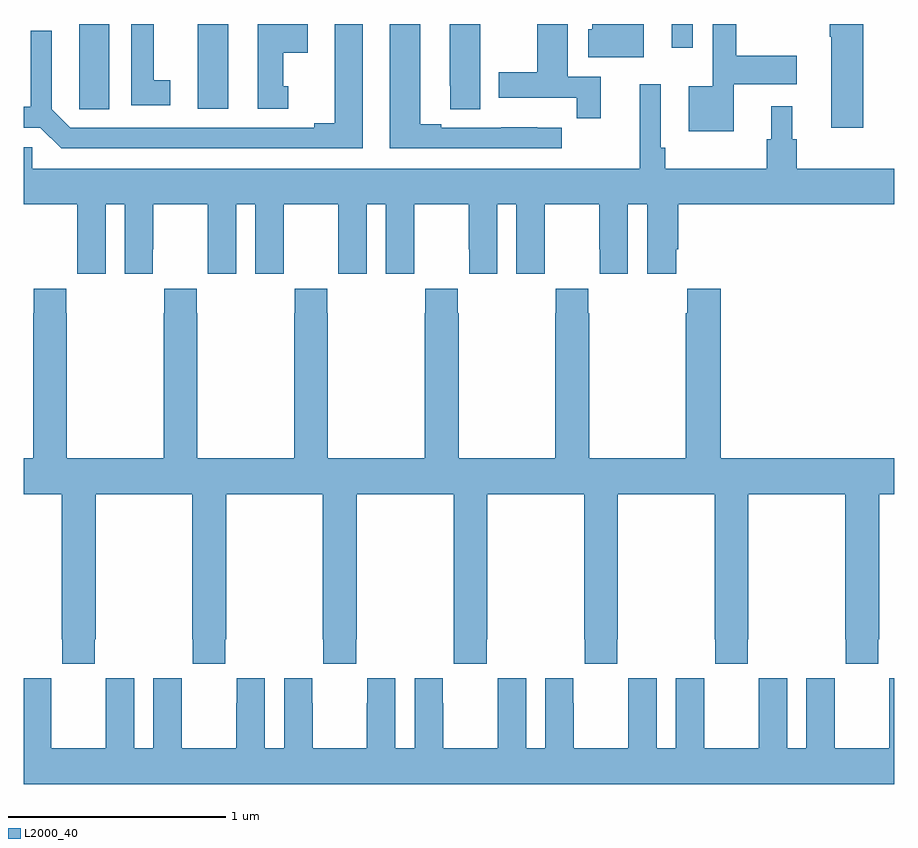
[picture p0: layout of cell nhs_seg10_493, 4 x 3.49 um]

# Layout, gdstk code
import gdstk
lib = gdstk.Library(unit=1e-6, precision=1e-09)
def R(c, l, rs):  # rectangles x0, y0, x1, y1
    for r in rs: c.add(gdstk.rectangle(r[:2], r[2:], *l))
def P(c, l, *ps):  # polygons
    for p in ps: c.add(gdstk.Polygon(p, *l))
L2000_40 = (2000, 40)

nhs_seg10_493 = lib.new_cell('nhs_seg10_493')
R(nhs_seg10_493, L2000_40, [(135.8,1278.111,135.94,1278.5), (137.978,1278.39,138.075,1278.5)])
P(nhs_seg10_493, L2000_40, [(138.262,1278.224),(138.553,1278.224),(138.553,1278.354),(138.274,1278.354),(138.274,1278.5),(138.165,1278.5),(138.165,1278.214),(138.056,1278.214),(138.056,1278.008),(138.262,1278.008)],
  [(138.857,1278.5),(138.703,1278.5),(138.703,1278.442),(138.71,1278.442),(138.71,1278.024),(138.857,1278.024)],
  [(135.394,1278.5),(135.254,1278.5),(135.254,1278.217),(135.255,1278.217),(135.255,1278.109),(135.394,1278.109)],
  [(137.473,1278.024),(137.36,1278.024),(137.36,1278.025),(137.194,1278.025),(137.194,1278.024),(136.918,1278.024),(136.918,1278.039),(136.822,1278.039),(136.822,1278.5),(136.682,1278.5),(136.682,1277.928),(137.473,1277.928)],
  [(136.216,1278.213),(136.192,1278.213),(136.192,1278.368),(136.306,1278.368),(136.306,1278.5),(136.076,1278.5),(136.076,1278.111),(136.216,1278.111)],
  [(137.098,1278.5),(136.958,1278.5),(136.958,1278.217),(136.959,1278.217),(136.959,1278.109),(137.098,1278.109)],
  [(136.558,1278.5),(136.43,1278.5),(136.43,1278.044),(136.334,1278.044),(136.334,1278.024),(135.213,1278.024),(135.129,1278.108),(135.129,1278.469),(135.033,1278.469),(135.033,1278.12),(135,1278.12),(135,1278.024),(135.077,1278.024),(135.173,1277.928),(136.558,1277.928)],
  [(137.651,1278.258),(137.5,1278.258),(137.5,1278.5),(137.36,1278.5),(137.36,1278.279),(137.183,1278.279),(137.183,1278.162),(137.542,1278.162),(137.542,1278.066),(137.651,1278.066)],
  [(137.848,1278.5),(137.612,1278.5),(137.612,1278.477),(137.594,1278.477),(137.594,1278.347),(137.848,1278.347)],
  [(135.673,1278.242),(135.598,1278.242),(135.598,1278.5),(135.494,1278.5),(135.494,1278.126),(135.673,1278.126)],
  [(135.039,1277.934),(135,1277.934),(135,1277.672),(135.245,1277.672),(135.245,1277.464),(135.246,1277.464),(135.246,1277.352),(135.376,1277.352),(135.376,1277.672),(135.464,1277.672),(135.464,1277.352),(135.594,1277.352),(135.594,1277.464),(135.595,1277.464),(135.595,1277.672),(135.845,1277.672),(135.845,1277.464),(135.846,1277.464),(135.846,1277.352),(135.976,1277.352),(135.976,1277.672),(136.064,1277.672),(136.064,1277.352),(136.194,1277.352),(136.194,1277.464),(136.195,1277.464),(136.195,1277.672),(136.445,1277.672),(136.445,1277.464),(136.446,1277.464),(136.446,1277.352),(136.576,1277.352),(136.576,1277.672),(136.664,1277.672),(136.664,1277.352),(136.794,1277.352),(136.794,1277.464),(136.795,1277.464),(136.795,1277.672),(137.045,1277.672),(137.045,1277.464),(137.046,1277.464),(137.046,1277.352),(137.176,1277.352),(137.176,1277.672),(137.264,1277.672),(137.264,1277.352),(137.394,1277.352),(137.394,1277.464),(137.395,1277.464),(137.395,1277.672),(137.645,1277.672),(137.645,1277.464),(137.646,1277.464),(137.646,1277.352),(137.776,1277.352),(137.776,1277.672),(137.864,1277.672),(137.864,1277.352),(137.998,1277.352),(137.998,1277.464),(138.008,1277.464),(138.008,1277.672),(139,1277.672),(139,1277.836),(138.551,1277.836),(138.551,1277.97),(138.532,1277.97),(138.532,1278.121),(138.434,1278.121),(138.434,1277.97),(138.415,1277.97),(138.415,1277.836),(137.948,1277.836),(137.948,1277.932),(137.928,1277.932),(137.928,1278.223),(137.831,1278.223),(137.831,1277.836),(135.039,1277.836)],
  [(135.175,1275.673),(135.177,1275.673),(135.177,1275.561),(135.327,1275.561),(135.327,1275.673),(135.33,1275.673),(135.33,1276.34),(135.775,1276.34),(135.775,1275.673),(135.777,1275.673),(135.777,1275.561),(135.927,1275.561),(135.927,1275.673),(135.93,1275.673),(135.93,1276.34),(136.375,1276.34),(136.375,1275.673),(136.377,1275.673),(136.377,1275.561),(136.527,1275.561),(136.527,1275.673),(136.53,1275.673),(136.53,1276.34),(136.975,1276.34),(136.975,1275.673),(136.977,1275.673),(136.977,1275.561),(137.127,1275.561),(137.127,1275.673),(137.13,1275.673),(137.13,1276.34),(137.575,1276.34),(137.575,1275.673),(137.577,1275.673),(137.577,1275.561),(137.727,1275.561),(137.727,1275.673),(137.73,1275.673),(137.73,1276.34),(138.175,1276.34),(138.175,1275.673),(138.177,1275.673),(138.177,1275.561),(138.327,1275.561),(138.327,1275.673),(138.33,1275.673),(138.33,1276.34),(138.775,1276.34),(138.775,1275.673),(138.777,1275.673),(138.777,1275.561),(138.927,1275.561),(138.927,1275.673),(138.93,1275.673),(138.93,1276.34),(139,1276.34),(139,1276.504),(138.203,1276.504),(138.203,1277.284),(138.049,1277.284),(138.049,1277.171),(138.043,1277.171),(138.043,1276.504),(137.598,1276.504),(137.598,1277.171),(137.595,1277.171),(137.595,1277.284),(137.445,1277.284),(137.445,1277.171),(137.443,1277.171),(137.443,1276.504),(136.998,1276.504),(136.998,1277.171),(136.995,1277.171),(136.995,1277.284),(136.845,1277.284),(136.845,1277.171),(136.843,1277.171),(136.843,1276.504),(136.398,1276.504),(136.398,1277.171),(136.395,1277.171),(136.395,1277.284),(136.245,1277.284),(136.245,1277.171),(136.243,1277.171),(136.243,1276.504),(135.798,1276.504),(135.798,1277.171),(135.795,1277.171),(135.795,1277.284),(135.645,1277.284),(135.645,1277.171),(135.643,1277.171),(135.643,1276.504),(135.198,1276.504),(135.198,1277.171),(135.195,1277.171),(135.195,1277.284),(135.045,1277.284),(135.045,1277.171),(135.043,1277.171),(135.043,1276.504),(135,1276.504),(135,1276.34),(135.175,1276.34)],
  [(135,1275.493),(135,1275.008),(139,1275.008),(139,1275.493),(138.978,1275.493),(138.978,1275.38),(138.977,1275.38),(138.977,1275.172),(138.727,1275.172),(138.727,1275.38),(138.726,1275.38),(138.726,1275.493),(138.596,1275.493),(138.596,1275.172),(138.508,1275.172),(138.508,1275.493),(138.378,1275.493),(138.378,1275.38),(138.377,1275.38),(138.377,1275.172),(138.127,1275.172),(138.127,1275.38),(138.126,1275.38),(138.126,1275.493),(137.996,1275.493),(137.996,1275.172),(137.908,1275.172),(137.908,1275.493),(137.778,1275.493),(137.778,1275.38),(137.777,1275.38),(137.777,1275.172),(137.527,1275.172),(137.527,1275.38),(137.526,1275.38),(137.526,1275.493),(137.396,1275.493),(137.396,1275.172),(137.308,1275.172),(137.308,1275.493),(137.178,1275.493),(137.178,1275.38),(137.177,1275.38),(137.177,1275.172),(136.927,1275.172),(136.927,1275.38),(136.926,1275.38),(136.926,1275.493),(136.796,1275.493),(136.796,1275.172),(136.708,1275.172),(136.708,1275.493),(136.578,1275.493),(136.578,1275.38),(136.577,1275.38),(136.577,1275.172),(136.327,1275.172),(136.327,1275.38),(136.326,1275.38),(136.326,1275.493),(136.196,1275.493),(136.196,1275.172),(136.108,1275.172),(136.108,1275.493),(135.978,1275.493),(135.978,1275.38),(135.977,1275.38),(135.977,1275.172),(135.727,1275.172),(135.727,1275.38),(135.726,1275.38),(135.726,1275.493),(135.596,1275.493),(135.596,1275.172),(135.508,1275.172),(135.508,1275.493),(135.378,1275.493),(135.378,1275.38),(135.377,1275.38),(135.377,1275.172),(135.127,1275.172),(135.127,1275.38),(135.126,1275.38),(135.126,1275.493)])

lib.write_gds('nhs_seg10_493.gds')
